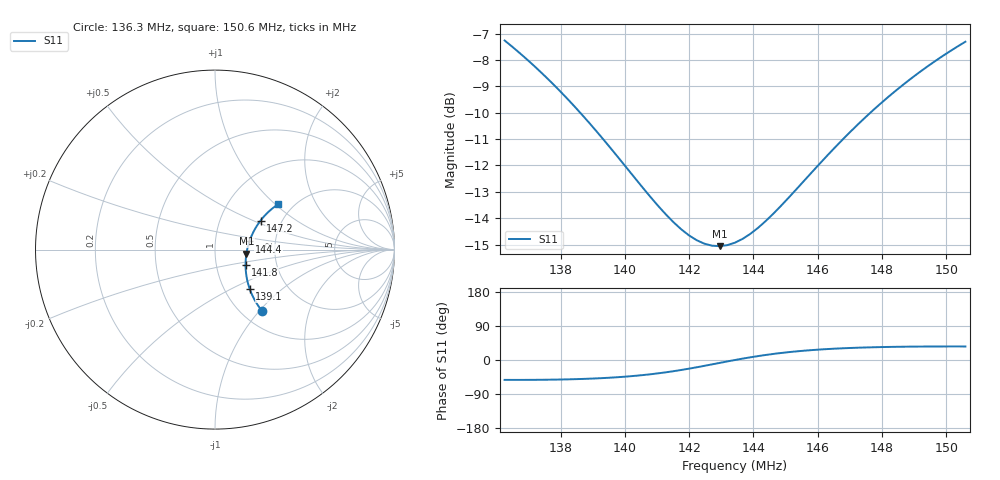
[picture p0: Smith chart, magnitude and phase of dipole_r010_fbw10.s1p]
! Free-space dipole, 1.0 m, 1.0 mm radius
! resonance 143.42 MHz, antenna Q 7.2, fractional bandwidth 10%
! generated with NEC via necpp
# MHZ S MA R 50
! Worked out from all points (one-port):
!   61 points, 136.3 MHz to 150.6 MHz, reference 50 ohm
!   lowest |S11| = -15.1 dB at 142.9 MHz (marker M1), VSWR 1.43, Z = 71.1 - j3.46 ohm
!   |S11| at or under -10 dB: 138.6 MHz to 147.6 MHz (9.03 MHz wide, 6.31 % of centre)
!   S11 on the Smith chart (normalised r, x): 136.3 MHz: 1.23, -1.04; 139.1 MHz: 1.31, -0.62; 141.8 MHz: 1.39, -0.24; 144.4 MHz: 1.47, +0.14; 147.2 MHz: 1.56, +0.55; 150.6 MHz: 1.68, +1.04
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136.2534  0.4336 -52.5
137.2095  0.3861 -52.3
138.1657  0.3382 -51.2
139.1219  0.2912 -48.5
139.839  0.2579 -45.0
140.5561  0.2278 -39.8
141.0342  0.2105 -35.2
141.5123  0.196 -29.5
141.7513  0.1901 -26.3
141.9903  0.1851 -22.9
142.2294  0.1813 -19.2
142.4684  0.1785 -15.5
142.7075  0.1769 -11.6
142.9465  0.1766 -7.7
143.1855  0.1774 -3.8
143.4246  0.1793 -0.0
143.6636  0.1823 3.6
143.9027  0.1863 7.1
144.3808  0.197 13.3
144.8588  0.2107 18.5
145.3369  0.2264 22.8
146.2931  0.2621 28.8
147.0102  0.2908 31.7
147.2492  0.3005 32.4
147.9664  0.3296 34.1
148.9225  0.3679 35.3
149.6397  0.3957 35.7
150.5958  0.4313 35.7
